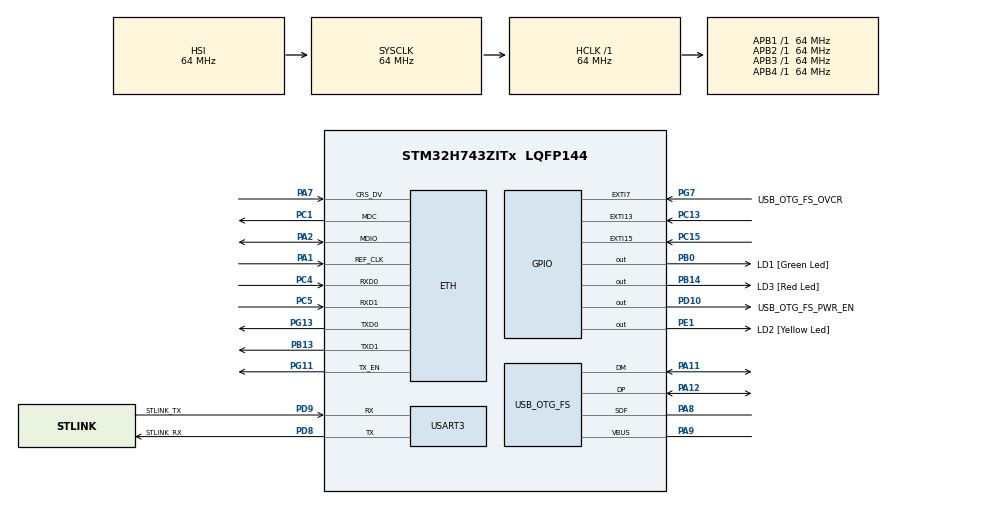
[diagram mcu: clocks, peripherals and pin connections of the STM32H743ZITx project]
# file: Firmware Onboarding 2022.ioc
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ETH.MediaInterface=HAL_ETH_RMII_MODE
Mcu.Family=STM32H7
Mcu.Name=STM32H743ZITx
Mcu.Package=LQFP144
NVIC.EXTI15_10_IRQn=true\:0\:0\:false\:false\:true\:true\:true\:true
NVIC.PriorityGroup=NVIC_PRIORITYGROUP_4
NVIC.TIM16_IRQn=true\:0\:0\:false\:false\:true\:true\:true\:true
PA1.Mode=RMII
PA1.Signal=ETH_REF_CLK
PA11.Mode=Device_Only
PA11.Signal=USB_OTG_FS_DM
PA12.Mode=Device_Only
PA12.Signal=USB_OTG_FS_DP
PA2.Mode=RMII
PA2.Signal=ETH_MDIO
PA7.Mode=RMII
PA7.Signal=ETH_CRS_DV
PA8.Mode=Activate_SOF_FS
PA8.Signal=USB_OTG_FS_SOF
PA9.Mode=Activate_VBUS
PA9.Signal=USB_OTG_FS_VBUS
PB0.GPIO_Label=LD1 [Green Led]
PB0.Signal=GPIO_Output
PB13.Mode=RMII
PB13.Signal=ETH_TXD1
PB14.GPIO_Label=LD3 [Red Led]
PB14.Signal=GPIO_Output
PC1.Mode=RMII
PC1.Signal=ETH_MDC
PC13.GPIO_ModeDefaultEXTI=GPIO_MODE_IT_FALLING
PC13.Signal=GPXTI13
PC14-OSC32_IN\ (OSC32_IN).Signal=RCC_OSC32_IN
PC15-OSC32_OUT\ (OSC32_OUT).Signal=GPXTI15
PC4.Mode=RMII
PC4.Signal=ETH_RXD0
PC5.Mode=RMII
PC5.Signal=ETH_RXD1
PD10.GPIO_Label=USB_OTG_FS_PWR_EN
PD10.Signal=GPIO_Output
PD8.GPIO_Label=STLINK_RX
PD8.Mode=Asynchronous
PD8.Signal=USART3_TX
PD9.GPIO_Label=STLINK_TX
PD9.Mode=Asynchronous
PD9.Signal=USART3_RX
PE1.GPIO_Label=LD2 [Yellow Led]
PE1.Signal=GPIO_Output
PG11.Mode=RMII
PG11.Signal=ETH_TX_EN
PG13.Mode=RMII
PG13.Signal=ETH_TXD0
PG7.GPIO_Label=USB_OTG_FS_OVCR
PG7.Signal=GPXTI7
PH0-OSC_IN\ (PH0).Mode=HSE-External-Clock-Source
PH0-OSC_IN\ (PH0).Signal=RCC_OSC_IN
PH1-OSC_OUT\ (PH1).Signal=RCC_OSC_OUT
ProjectManager.HeapSize=0x200
ProjectManager.StackSize=0x400
ProjectManager.TargetToolchain=STM32CubeIDE
RCC.ADCFreq_Value=16125000
RCC.APB1Freq_Value=64000000
RCC.APB2Freq_Value=64000000
RCC.APB3Freq_Value=64000000
RCC.APB4Freq_Value=64000000
RCC.CortexFreq_Value=64000000
RCC.DIVM1=1
RCC.DIVN1=24
RCC.DIVQ1=4
RCC.HCLKFreq_Value=64000000
RCC.HSE_VALUE=8000000
RCC.PLLFRACN=0
RCC.PWR_Regulator_Voltage_Scale=PWR_REGULATOR_VOLTAGE_SCALE2
RCC.SYSCLKFreq_VALUE=64000000
RCC.USBFreq_Value=48000000
TIM16.Period=1250-1
TIM16.Prescaler=6400-1
USART3.VirtualMode-Asynchronous=VM_ASYNC
USB_OTG_FS.VirtualMode=Device_Only
VP_HRTIM_VS_hrtimMasterTimerNoOutput.Mode=MasterTimer
VP_TIM16_VS_ClockSourceINT.Mode=Enable_Timer
board=NUCLEO-H743ZI2

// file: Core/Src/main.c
/* USER CODE BEGIN Header */
/**
  ******************************************************************************
  * @file           : main.c
  * @brief          : Main program body
  ******************************************************************************
  * @attention
  *
  * Copyright (c) 2022 STMicroelectronics.
  * All rights reserved.
  *
  * This software is licensed under terms that can be found in the LICENSE file
  * in the root directory of this software component.
  * If no LICENSE file comes with this software, it is provided AS-IS.
  *
  ******************************************************************************
  */
/* USER CODE END Header */
#include "main.h"
#include "eth.h"
#include "hrtim.h"
#include "tim.h"
#include "usart.h"
#include "usb_otg.h"
#include "gpio.h"

/* USER CODE BEGIN Includes */
#include <stdio.h>

/* USER CODE END Includes */

/* USER CODE BEGIN PV */
#define PUTCHAR_PROTOTYPE int __io_putchar(int ch)
#define GETCHAR_PROTOTYPE int __io_getchar()
/* USER CODE END PV */

void SystemClock_Config(void);

/* USER CODE BEGIN 0 */
volatile char led_color = 'G';

/* USER CODE END 0 */

int main(void)
{

  /* MCU Configuration--------------------------------------------------------*/

  /* Reset of all peripherals, Initializes the Flash interface and the Systick. */
  HAL_Init();

  /* Configure the system clock */
  SystemClock_Config();

  /* Initialize all configured peripherals */
  MX_GPIO_Init();
  MX_ETH_Init();
  MX_USART3_UART_Init();
  MX_USB_OTG_FS_PCD_Init();
  MX_HRTIM_Init();
  MX_TIM16_Init();
  /* USER CODE BEGIN 2 */

  HAL_TIM_Base_Start_IT(&htim16);
  /* USER CODE END 2 */

  /* Infinite loop */
  while (1)
  {

  }
}

void SystemClock_Config(void)
{
  RCC_OscInitTypeDef RCC_OscInitStruct = {0};
  RCC_ClkInitTypeDef RCC_ClkInitStruct = {0};

  /** Supply configuration update enable
  */
  HAL_PWREx_ConfigSupply(PWR_LDO_SUPPLY);

  /** Configure the main internal regulator output voltage
  */
  __HAL_PWR_VOLTAGESCALING_CONFIG(PWR_REGULATOR_VOLTAGE_SCALE2);

  while(!__HAL_PWR_GET_FLAG(PWR_FLAG_VOSRDY)) {}

  /** Initializes the RCC Oscillators according to the specified parameters
  * in the RCC_OscInitTypeDef structure.
  */
  RCC_OscInitStruct.OscillatorType = RCC_OSCILLATORTYPE_HSI|RCC_OSCILLATORTYPE_HSE;
  RCC_OscInitStruct.HSEState = RCC_HSE_BYPASS;
  RCC_OscInitStruct.HSIState = RCC_HSI_DIV1;
  RCC_OscInitStruct.HSICalibrationValue = RCC_HSICALIBRATION_DEFAULT;
  RCC_OscInitStruct.PLL.PLLState = RCC_PLL_ON;
  RCC_OscInitStruct.PLL.PLLSource = RCC_PLLSOURCE_HSE;
  RCC_OscInitStruct.PLL.PLLM = 1;
  RCC_OscInitStruct.PLL.PLLN = 24;
  RCC_OscInitStruct.PLL.PLLP = 2;
  RCC_OscInitStruct.PLL.PLLQ = 4;
  RCC_OscInitStruct.PLL.PLLR = 2;
  RCC_OscInitStruct.PLL.PLLRGE = RCC_PLL1VCIRANGE_3;
  RCC_OscInitStruct.PLL.PLLVCOSEL = RCC_PLL1VCOWIDE;
  RCC_OscInitStruct.PLL.PLLFRACN = 0;
  if (HAL_RCC_OscConfig(&RCC_OscInitStruct) != HAL_OK)
  {
    Error_Handler();
  }

  /** Initializes the CPU, AHB and APB buses clocks
  */
  RCC_ClkInitStruct.ClockType = RCC_CLOCKTYPE_HCLK|RCC_CLOCKTYPE_SYSCLK
                              |RCC_CLOCKTYPE_PCLK1|RCC_CLOCKTYPE_PCLK2
                              |RCC_CLOCKTYPE_D3PCLK1|RCC_CLOCKTYPE_D1PCLK1;
  RCC_ClkInitStruct.SYSCLKSource = RCC_SYSCLKSOURCE_HSI;
  RCC_ClkInitStruct.SYSCLKDivider = RCC_SYSCLK_DIV1;
  RCC_ClkInitStruct.AHBCLKDivider = RCC_HCLK_DIV1;
  RCC_ClkInitStruct.APB3CLKDivider = RCC_APB3_DIV1;
  RCC_ClkInitStruct.APB1CLKDivider = RCC_APB1_DIV1;
  RCC_ClkInitStruct.APB2CLKDivider = RCC_APB2_DIV1;
  RCC_ClkInitStruct.APB4CLKDivider = RCC_APB4_DIV1;

  if (HAL_RCC_ClockConfig(&RCC_ClkInitStruct, FLASH_LATENCY_1) != HAL_OK)
  {
    Error_Handler();
  }
}

/* USER CODE BEGIN 4 */
int subTimer = 1;
void HAL_TIM_PeriodElapsedCallback(TIM_HandleTypeDef * htim) { //function called at 8Hz
	  if(led_color == 'G'){
		  if(subTimer == 4) { //Green LED toggles at 2Hz, or once every 4 interrupts
			  HAL_GPIO_TogglePin(GPIOB, GPIO_PIN_0);
			  subTimer = 1;
		  } else {
			  subTimer++;
		  }
	  } else if (led_color == 'Y') { //Yellow LED toggles at 4Hz, or once every 2 interrupts
		  if(subTimer == 2) {
			  //HAL_GPIO_TogglePin(GPIOE, GPIO_PIN_1);
			  GPIOE->ODR ^= 0b10; //Yellow LED is directly toggled in register to meet req
			  subTimer = 1;
		  } else {
			  subTimer++;
		  }
	  } else if (led_color == 'R') { //Red LED toggles at 8Hz, or every interrupt
		  HAL_GPIO_TogglePin(GPIOB, GPIO_PIN_14);
	  }
}

void HAL_GPIO_EXTI_Callback (uint16_t GPIO_Pin) { //Called when button is released (falling edge)
	if(GPIO_Pin == GPIO_PIN_13) {
		HAL_GPIO_WritePin(GPIOB, GPIO_PIN_0, GPIO_PIN_RESET);
		HAL_GPIO_WritePin(GPIOE, GPIO_PIN_1, GPIO_PIN_RESET);
		HAL_GPIO_WritePin(GPIOB, GPIO_PIN_14, GPIO_PIN_RESET); //turn off all LEDs and reset timer
		subTimer = 1;
		if(led_color == 'G') { //swap LED color sequentially
			led_color = 'Y';
		} else if(led_color == 'Y') {
			led_color = 'R';
		} else if(led_color == 'R') {
			led_color = 'G';
		}
	}
}

// ==================== uart => printf substitute =====================

/**
  * @brief  Retargets the C library printf and scanf functions to the UART.
  * @param  None
  * @retval None
  */

PUTCHAR_PROTOTYPE
{
  /* Place your implementation of fputc here */
  /* e.g. write a character to the LPUART1 and Loop until the end of transmission */
  HAL_UART_Transmit(&huart3, (uint8_t *)&ch, 1, 0xFFFF);

  return ch;
}

GETCHAR_PROTOTYPE
{
	uint8_t ch;

	HAL_UART_Receive(&huart3, &ch, 1, 0xFFFF);

	return ch;
}
/* USER CODE END 4 */

void Error_Handler(void)
{
  __disable_irq();
  while (1)
  {
  }
}
